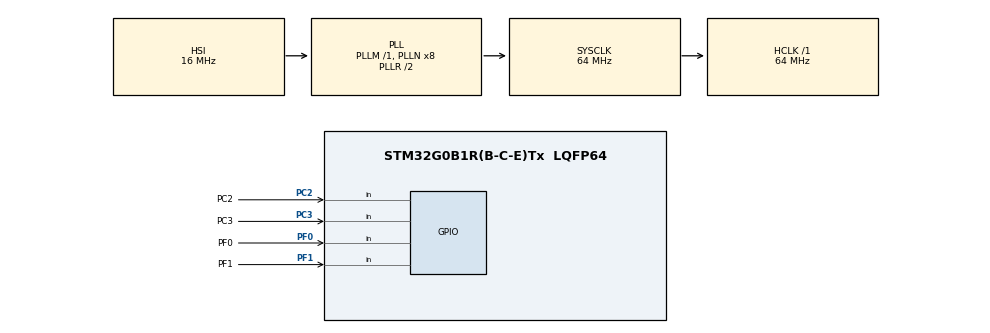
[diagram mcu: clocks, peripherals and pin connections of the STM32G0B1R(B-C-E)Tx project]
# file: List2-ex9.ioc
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Mcu.Family=STM32G0
Mcu.Name=STM32G0B1R(B-C-E)Tx
Mcu.Package=LQFP64
PA13.Mode=Serial_Wire
PA13.Signal=SYS_SWDIO
PA14-BOOT0.Mode=Serial_Wire
PA14-BOOT0.Signal=SYS_SWCLK
PC2.GPIO_Label=PC2
PC2.GPIO_PuPd=GPIO_PULLUP
PC2.Signal=GPIO_Input
PC3.GPIO_Label=PC3
PC3.GPIO_PuPd=GPIO_PULLUP
PC3.Signal=GPIO_Input
PF0-OSC_IN\ (PF0).GPIO_Label=PF0
PF0-OSC_IN\ (PF0).GPIO_PuPd=GPIO_PULLUP
PF0-OSC_IN\ (PF0).Signal=GPIO_Input
PF1-OSC_OUT\ (PF1).GPIO_Label=PF1
PF1-OSC_OUT\ (PF1).GPIO_PuPd=GPIO_PULLUP
PF1-OSC_OUT\ (PF1).Signal=GPIO_Input
ProjectManager.HeapSize=0x200
ProjectManager.StackSize=0x400
ProjectManager.TargetToolchain=STM32CubeIDE
RCC.ADCFreq_Value=64000000
RCC.AHBFreq_Value=64000000
RCC.CortexFreq_Value=64000000
RCC.EXTERNAL_CLOCK_VALUE=48000
RCC.HCLKFreq_Value=64000000
RCC.HSE_VALUE=8000000
RCC.HSI48_VALUE=48000000
RCC.HSI_VALUE=16000000
RCC.LSE_VALUE=32768
RCC.SYSCLKFreq_VALUE=64000000
RCC.SYSCLKSource=RCC_SYSCLKSOURCE_PLLCLK
RCC.USBFreq_Value=48000000
RCC.VCOOutputFreq_Value=128000000
VP_SYS_VS_DBSignals.Mode=DisableDeadBatterySignals
board=custom

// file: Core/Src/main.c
/* USER CODE BEGIN Header */
/**
  ******************************************************************************
  * @file           : main.c
  * @brief          : Main program body
  ******************************************************************************
  * @attention
  *
  * Copyright (c) 2022 STMicroelectronics.
  * All rights reserved.
  *
  * This software is licensed under terms that can be found in the LICENSE file
  * in the root directory of this software component.
  * If no LICENSE file comes with this software, it is provided AS-IS.
  *
  ******************************************************************************
  */
/* USER CODE END Header */
#include "main.h"
#include <stdint.h>

/* USER CODE BEGIN PV */
uint32_t bits = 0, flag=0, flag_2=0, flag_3=0, flag_4=0;
/* USER CODE END PV */

void SystemClock_Config(void);
static void MX_GPIO_Init(void);

int main(void)
{

  /* MCU Configuration--------------------------------------------------------*/

  /* Reset of all peripherals, Initializes the Flash interface and the Systick. */
  HAL_Init();

  /* Configure the system clock */
  SystemClock_Config();

  /* Initialize all configured peripherals */
  MX_GPIO_Init();

  /* Infinite loop */
  /* USER CODE BEGIN WHILE */

  while (1)
  {
	  if(flag == 0)
	  {
		  if(HAL_GPIO_ReadPin(PC3_GPIO_Port, PC3_Pin) != 0)
		  {
			  bits += 1;
			  flag=1;

		  }
	  }
	  if(HAL_GPIO_ReadPin(PC3_GPIO_Port, PC3_Pin) == 0)
	  {
		  if(flag == 1)
		  {
	  			  bits -= 1;

		  }
		  flag=0;
	  }

	  if(flag_2 == 0)
	  {
		  if(HAL_GPIO_ReadPin(PC2_GPIO_Port, PC2_Pin) != 0)
		  {
			  bits += 2;
			  flag_2=1;
		  }
	  }
	  if(HAL_GPIO_ReadPin(PC2_GPIO_Port, PC2_Pin) == 0)
	  {
		  if(flag_2 == 1)
		  {
	  			  bits -= 2;
		  }
		  flag_2=0;
	  }

	  if(flag_3 == 0)
	  {
		  if(HAL_GPIO_ReadPin(PF1_GPIO_Port, PF1_Pin) != 0)
		  {
			  bits += 4;
			  flag_3=1;
		  }
	  }
	  if(HAL_GPIO_ReadPin(PF1_GPIO_Port, PF1_Pin) == 0)
	  {
		  if(flag_3 == 1)
		  {
	  			  bits -= 4;
		  }
		  flag_3=0;
	  }

	  if(flag_4 == 0)
	  {
		  if(HAL_GPIO_ReadPin(PF0_GPIO_Port, PF0_Pin) != 0)
		  {
			  bits += 8;
			  flag_4 =1;
		  }
	  }
	  if(HAL_GPIO_ReadPin(PF0_GPIO_Port, PF0_Pin) == 0)
	  {

		  if(flag_4 == 1)
		  {
			  bits -= 8;
		  }
		  flag_4 =0;
	  }

    /* USER CODE END WHILE */

  }
}

void SystemClock_Config(void)
{
  RCC_OscInitTypeDef RCC_OscInitStruct = {0};
  RCC_ClkInitTypeDef RCC_ClkInitStruct = {0};

  /** Configure the main internal regulator output voltage
  */
  HAL_PWREx_ControlVoltageScaling(PWR_REGULATOR_VOLTAGE_SCALE1);
  /** Initializes the RCC Oscillators according to the specified parameters
  * in the RCC_OscInitTypeDef structure.
  */
  RCC_OscInitStruct.OscillatorType = RCC_OSCILLATORTYPE_HSI;
  RCC_OscInitStruct.HSIState = RCC_HSI_ON;
  RCC_OscInitStruct.HSIDiv = RCC_HSI_DIV1;
  RCC_OscInitStruct.HSICalibrationValue = RCC_HSICALIBRATION_DEFAULT;
  RCC_OscInitStruct.PLL.PLLState = RCC_PLL_ON;
  RCC_OscInitStruct.PLL.PLLSource = RCC_PLLSOURCE_HSI;
  RCC_OscInitStruct.PLL.PLLM = RCC_PLLM_DIV1;
  RCC_OscInitStruct.PLL.PLLN = 8;
  RCC_OscInitStruct.PLL.PLLP = RCC_PLLP_DIV2;
  RCC_OscInitStruct.PLL.PLLQ = RCC_PLLQ_DIV2;
  RCC_OscInitStruct.PLL.PLLR = RCC_PLLR_DIV2;
  if (HAL_RCC_OscConfig(&RCC_OscInitStruct) != HAL_OK)
  {
    Error_Handler();
  }
  /** Initializes the CPU, AHB and APB buses clocks
  */
  RCC_ClkInitStruct.ClockType = RCC_CLOCKTYPE_HCLK|RCC_CLOCKTYPE_SYSCLK
                              |RCC_CLOCKTYPE_PCLK1;
  RCC_ClkInitStruct.SYSCLKSource = RCC_SYSCLKSOURCE_PLLCLK;
  RCC_ClkInitStruct.AHBCLKDivider = RCC_SYSCLK_DIV1;
  RCC_ClkInitStruct.APB1CLKDivider = RCC_HCLK_DIV1;

  if (HAL_RCC_ClockConfig(&RCC_ClkInitStruct, FLASH_LATENCY_2) != HAL_OK)
  {
    Error_Handler();
  }
}

static void MX_GPIO_Init(void)
{
  GPIO_InitTypeDef GPIO_InitStruct = {0};

  /* GPIO Ports Clock Enable */
  __HAL_RCC_GPIOF_CLK_ENABLE();
  __HAL_RCC_GPIOC_CLK_ENABLE();
  __HAL_RCC_GPIOA_CLK_ENABLE();

  /*Configure GPIO pins : PF0_Pin PF1_Pin */
  GPIO_InitStruct.Pin = PF0_Pin|PF1_Pin;
  GPIO_InitStruct.Mode = GPIO_MODE_INPUT;
  GPIO_InitStruct.Pull = GPIO_PULLUP;
  HAL_GPIO_Init(GPIOF, &GPIO_InitStruct);

  /*Configure GPIO pins : PC2_Pin PC3_Pin */
  GPIO_InitStruct.Pin = PC2_Pin|PC3_Pin;
  GPIO_InitStruct.Mode = GPIO_MODE_INPUT;
  GPIO_InitStruct.Pull = GPIO_PULLUP;
  HAL_GPIO_Init(GPIOC, &GPIO_InitStruct);

}

void Error_Handler(void)
{
  __disable_irq();
  while (1)
  {
  }
}
